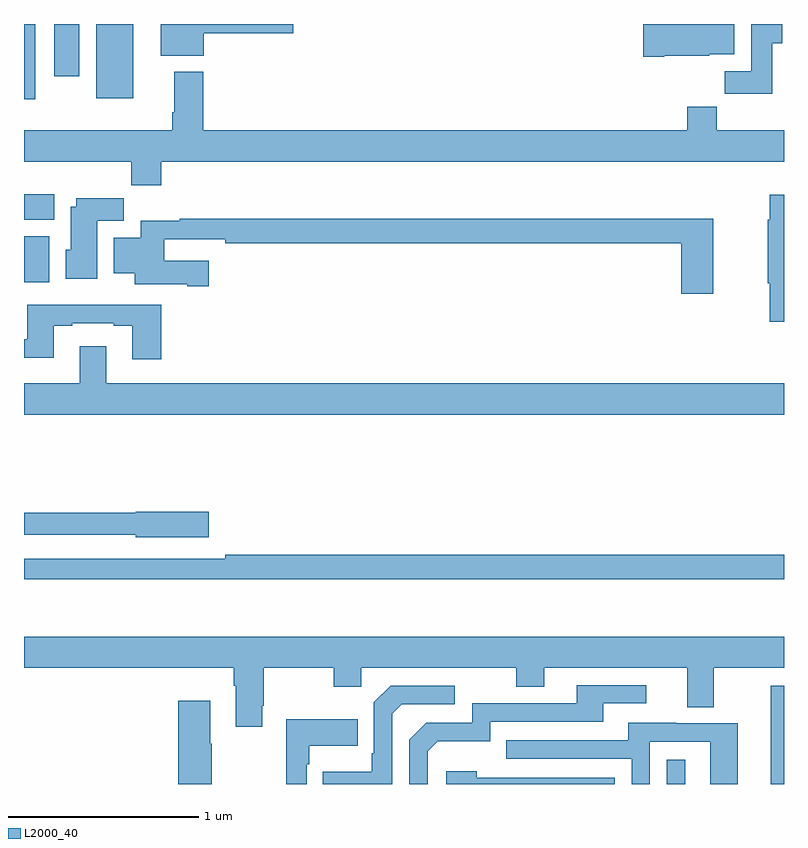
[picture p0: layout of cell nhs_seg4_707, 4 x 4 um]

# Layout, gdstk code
import gdstk
lib = gdstk.Library(unit=1e-6, precision=1e-09)
def R(c, l, rs):  # rectangles x0, y0, x1, y1
    for r in rs: c.add(gdstk.rectangle(r[:2], r[2:], *l))
def P(c, l, *ps):  # polygons
    for p in ps: c.add(gdstk.Polygon(p, *l))
L2000_40 = (2000, 40)

nhs_seg4_707 = lib.new_cell('nhs_seg4_707')
R(nhs_seg4_707, L2000_40, [(150.384,770.9,150.481,771.028), (150.929,770.9,151,771.417), (147,773.54,147.133,773.782), (147,773.87,147.16,774.004), (147,774.504,147.058,774.9), (147.38,774.509,147.574,774.898), (147.158,774.624,147.292,774.9)])
P(nhs_seg4_707, L2000_40, [(150.37,774.734),(150.606,774.734),(150.606,774.74),(150.739,774.74),(150.739,774.9),(150.258,774.9),(150.258,774.727),(150.37,774.727)],
  [(147.946,774.851),(148.417,774.851),(148.417,774.9),(147.719,774.9),(147.719,774.734),(147.946,774.734)],
  [(150.937,774.8),(150.991,774.8),(150.991,774.9),(150.827,774.9),(150.827,774.652),(150.688,774.652),(150.688,774.534),(150.937,774.534)],
  [(147.722,774.176),(151,774.176),(151,774.34),(150.647,774.34),(150.647,774.464),(150.491,774.464),(150.491,774.34),(147.944,774.34),(147.944,774.649),(147.791,774.649),(147.791,774.436),(147.779,774.436),(147.779,774.34),(147,774.34),(147,774.176),(147.565,774.176),(147.565,774.052),(147.722,774.052)],
  [(151,774.001),(150.925,774.001),(150.925,773.871),(150.914,773.871),(150.914,773.535),(150.925,773.535),(150.925,773.334),(151,773.334)],
  [(147.385,773.864),(147.524,773.864),(147.524,773.983),(147.275,773.983),(147.275,773.938),(147.245,773.938),(147.245,773.712),(147.221,773.712),(147.221,773.558),(147.385,773.558)],
  [(150.628,773.875),(147.82,773.875),(147.82,773.864),(147.614,773.864),(147.614,773.776),(147.473,773.776),(147.473,773.588),(147.584,773.588),(147.584,773.531),(147.86,773.531),(147.86,773.519),(147.973,773.519),(147.973,773.653),(147.737,773.653),(147.737,773.766),(148.06,773.766),(148.06,773.746),(150.458,773.746),(150.458,773.481),(150.628,773.481)],
  [(147.722,773.422),(147.017,773.422),(147.017,773.241),(147,773.241),(147,773.144),(147.157,773.144),(147.157,773.313),(147.253,773.313),(147.253,773.325),(147.473,773.325),(147.473,773.313),(147.569,773.313),(147.569,773.136),(147.722,773.136)],
  [(151,773.008),(147.433,773.008),(147.433,773.203),(147.293,773.203),(147.293,773.008),(147,773.008),(147,772.844),(151,772.844)],
  [(147.973,772.334),(147.588,772.334),(147.588,772.328),(147,772.328),(147,772.212),(147.588,772.212),(147.588,772.199),(147.973,772.199)],
  [(151,772.106),(148.06,772.106),(148.06,772.086),(147,772.086),(147,771.978),(151,771.978)],
  [(148.255,771.313),(148.263,771.313),(148.263,771.512),(148.63,771.512),(148.63,771.413),(148.776,771.413),(148.776,771.512),(149.59,771.512),(149.59,771.413),(149.737,771.413),(149.737,771.512),(150.491,771.512),(150.491,771.304),(150.631,771.304),(150.631,771.512),(151,771.512),(151,771.676),(147,771.676),(147,771.512),(148.103,771.512),(148.103,771.416),(148.115,771.416),(148.115,771.201),(148.255,771.201)],
  [(149.124,771.072),(149.177,771.125),(149.454,771.125),(149.454,771.228),(150.049,771.228),(150.049,771.324),(150.274,771.324),(150.274,771.42),(149.909,771.42),(149.909,771.324),(149.358,771.324),(149.358,771.222),(149.118,771.222),(149.028,771.132),(149.028,770.9),(149.124,770.9)],
  [(148.938,771.27),(148.989,771.321),(149.266,771.321),(149.266,771.417),(148.929,771.417),(148.842,771.33),(148.842,771.061),(148.83,771.061),(148.83,770.965),(148.573,770.965),(148.573,770.9),(148.938,770.9)],
  [(147.987,771.113),(147.979,771.113),(147.979,771.337),(147.812,771.337),(147.812,770.9),(147.987,770.9)],
  [(148.488,771.005),(148.501,771.005),(148.501,771.101),(148.757,771.101),(148.757,771.241),(148.38,771.241),(148.38,770.9),(148.488,770.9)],
  [(150.294,771.123),(150.612,771.123),(150.612,770.9),(150.757,770.9),(150.757,771.219),(150.433,771.219),(150.433,771.223),(150.179,771.223),(150.179,771.129),(149.539,771.129),(149.539,771.033),(150.198,771.033),(150.198,770.9),(150.294,770.9)],
  [(150.108,770.934),(149.384,770.934),(149.384,770.968),(149.223,770.968),(149.223,770.9),(150.108,770.9)])

lib.write_gds('nhs_seg4_707.gds')
